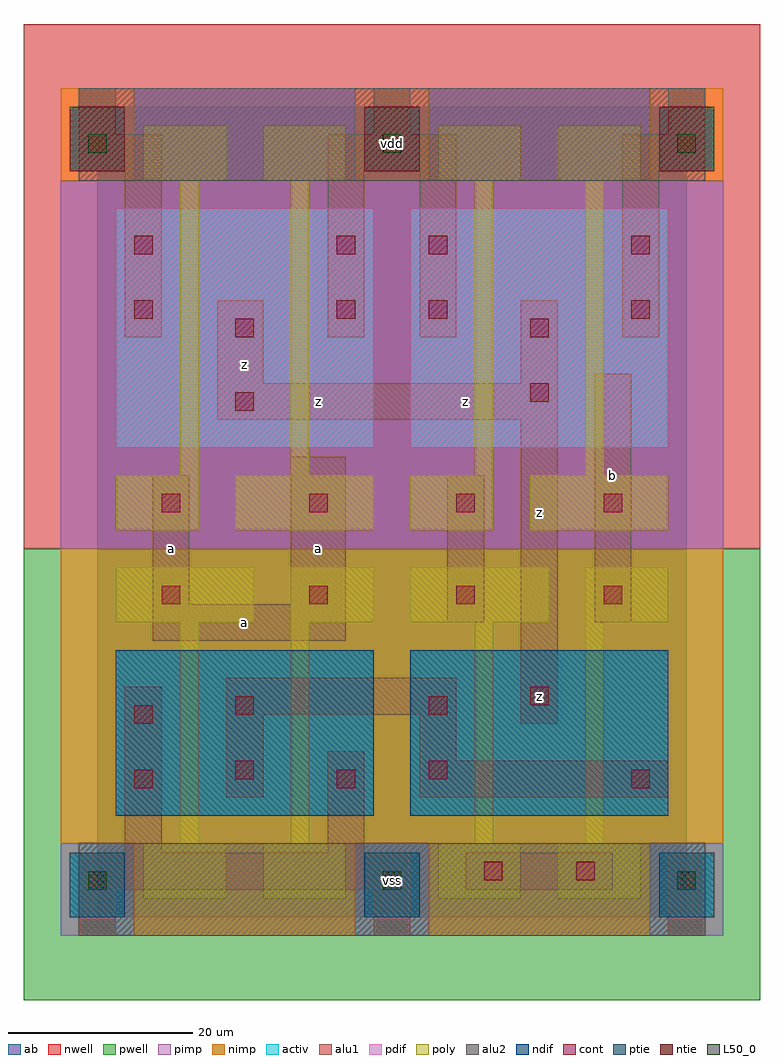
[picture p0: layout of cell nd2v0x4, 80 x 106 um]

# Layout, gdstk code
import gdstk
lib = gdstk.Library(unit=1e-6, precision=1e-09)
def R(c, l, rs):  # rectangles x0, y0, x1, y1
    for r in rs: c.add(gdstk.rectangle(r[:2], r[2:], *l))
def A(c, l, x, y, w, h, nx, ny, dx, dy):  # array of equal rectangles
    R(c, l, [(x+i*dx, y+j*dy, x+i*dx+w, y+j*dy+h) for i in range(nx) for j in range(ny)])
ndif = (3, 0)
pdif = (4, 0)
ntie = (5, 0)
ptie = (6, 0)
cont = (25, 0)
pwell = (41, 0)
nwell = (42, 0)
activ = (43, 0)
pimp = (44, 0)
nimp = (45, 0)
poly = (46, 0)
alu1 = (49, 0)
L50_0 = (50, 0)
alu2 = (51, 0)
ab = (63, 0)

nd2v0x4 = lib.new_cell('nd2v0x4')
R(nd2v0x4, ndif, [(2,11,30,29), (34,11,62,29)])
R(nd2v0x4, pdif, [(2,51,30,77), (34,51,62,77)])
A(nd2v0x4, ntie, -3, 81, 6, 7, 3, 1, 32, 0)
A(nd2v0x4, ptie, -3, 0, 6, 7, 3, 1, 32, 0)
A(nd2v0x4, cont, -1, 3, 2, 2, 3, 2, 32, 80)
A(nd2v0x4, cont, 7, 34, 2, 2, 4, 2, 16, 10)
R(nd2v0x4, cont, [(42,4,44,6), (52,4,54,6), (4,14,6,16), (26,14,28,16), (58,14,60,16), (15,15,17,17), (36,15,38,17), (4,21,6,23), (15,22,17,24), (36,22,38,24), (47,23,49,25), (15,55,17,57), (47,56,49,58), (15,63,17,65), (47,63,49,65), (4,65,6,67), (26,65,28,67), (36,65,38,67), (58,65,60,67), (4,72,6,74), (26,72,28,74), (36,72,38,74), (58,72,60,74)])
R(nd2v0x4, pwell, [(-8,-9,72,40)])
R(nd2v0x4, nwell, [(-8,40,72,97)])
A(nd2v0x4, activ, -3, 0, 6, 7, 3, 2, 32, 81)
R(nd2v0x4, activ, [(2,11,30,29), (34,11,62,29), (2,51,30,77), (34,51,62,77)])
A(nd2v0x4, pimp, -4, -2, 8, 10, 3, 1, 32, 0)
R(nd2v0x4, pimp, [(-4,40,68,80), (4,80,28,90), (36,80,60,90)])
A(nd2v0x4, nimp, -4, 80, 8, 10, 3, 1, 32, 0)
R(nd2v0x4, nimp, [(4,-2,28,8), (36,-2,60,8), (-4,8,68,40)])
R(nd2v0x4, poly, [(5,2,14,8), (18,2,27,8), (37,2,46,8), (50,2,59,8), (9,8,11,32), (21,8,23,32), (41,8,43,32), (53,8,55,32), (2,32,17,38), (21,32,30,38), (34,32,49,38), (53,32,62,38), (2,42,11,48), (15,42,30,48), (34,42,43,48), (47,42,62,48), (9,48,11,80), (21,48,23,80), (41,48,43,80), (53,48,55,80), (5,80,14,86), (18,80,27,86), (37,80,46,86), (50,80,59,86)])
A(nd2v0x4, alu1, -2, 85, 4, 5, 3, 1, 32, 0)
R(nd2v0x4, alu1, [(-2,-2,2,3), (30,-2,34,3), (62,-2,66,7), (-2,3,34,7), (40,3,56,7), (3,7,7,25), (25,7,29,18), (14,13,18,22), (35,13,62,17), (35,17,39,22), (46,21,50,54), (14,22,39,26), (6,30,27,34), (38,32,42,48), (54,32,58,59), (6,34,10,48), (21,34,27,50), (13,54,50,58), (13,58,18,67), (46,58,50,67), (3,63,7,81), (25,63,29,81), (35,63,39,81), (57,63,61,81), (-2,81,7,85), (25,81,39,85), (57,81,66,85)])
A(nd2v0x4, L50_0, -1, 3, 2, 2, 3, 2, 32, 80)
R(nd2v0x4, alu2, [(-2,-2,66,8), (-2,80,66,90)])
R(nd2v0x4, ab, [(0,0,64,88)])
nd2v0x4.add(gdstk.Label('a', (8,40), layer=49, texttype=0))
nd2v0x4.add(gdstk.Label('a', (16,32), layer=49, texttype=0))
nd2v0x4.add(gdstk.Label('a', (24,40), layer=49, texttype=0))
nd2v0x4.add(gdstk.Label('z', (16,60), layer=49, texttype=0))
nd2v0x4.add(gdstk.Label('z', (24,56), layer=49, texttype=0))
nd2v0x4.add(gdstk.Label('z', (40,56), layer=49, texttype=0))
nd2v0x4.add(gdstk.Label('z', (48,24), layer=49, texttype=0))
nd2v0x4.add(gdstk.Label('b', (56,48), layer=49, texttype=0))
nd2v0x4.add(gdstk.Label('z', (48,44), layer=49, texttype=0))
nd2v0x4.add(gdstk.Label('vss', (32,4), layer=51, texttype=0))
nd2v0x4.add(gdstk.Label('vdd', (32,84), layer=51, texttype=0))

lib.write_gds('nd2v0x4.gds')
